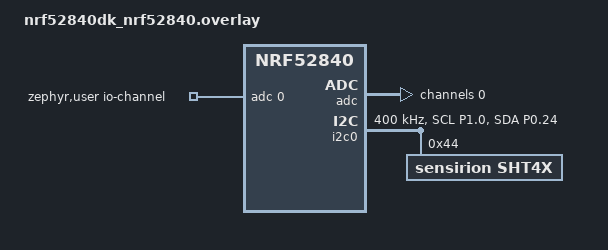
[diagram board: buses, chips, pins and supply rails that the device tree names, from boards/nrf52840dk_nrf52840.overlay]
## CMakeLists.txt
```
#
# Copyright (c) 2025 Nordic Semiconductor ASA
#
# SPDX-License-Identifier: LicenseRef-Nordic-5-Clause
#

cmake_minimum_required(VERSION 3.20.0)

find_package(Zephyr HINTS $ENV{ZEPHYR_BASE})

project(temperature_sensor_1)

# Enable GNU STD support.
include(${ZEPHYR_CONNECTEDHOMEIP_MODULE_DIR}/config/nrfconnect/app/enable-gnu-std.cmake)

# NORDIC SDK APP START

# Include all source files that are located in the Matter common directory.
include(${ZEPHYR_NRF_MODULE_DIR}/samples/matter/common/cmake/source_common.cmake)

# Include Data Model utils
include(${ZEPHYR_NRF_MODULE_DIR}/samples/matter/common/cmake/data_model.cmake)

include(${ZEPHYR_NRF_MODULE_DIR}/samples/matter/common/cmake/zap_helpers.cmake)
ncs_get_zap_parent_dir(ZAP_PARENT_DIR)

target_include_directories(app PRIVATE
  src
  ${ZAP_PARENT_DIR}
)

target_sources(app PRIVATE
  src/app_task.cpp
  src/main.cpp
  src/sht41_sensor.c
  src/battery_adc.cpp
)

ncs_configure_data_model()
# NORDIC SDK APP END
```

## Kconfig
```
#
# Copyright (c) 2025 Nordic Semiconductor
#
# SPDX-License-Identifier: LicenseRef-Nordic-5-Clause
#
mainmenu "Matter nRF Connect Temperature Sensor Example Application"

choice OPENTHREAD_NORDIC_LIBRARY_CONFIGURATION
	default OPENTHREAD_NORDIC_LIBRARY_MTD
endchoice

choice OPENTHREAD_DEVICE_TYPE
	default OPENTHREAD_MTD
endchoice

config CHIP_ENABLE_ICD_SUPPORT
	default y

config CHIP_ICD_LIT_SUPPORT
	default y

config CHIP_ICD_SIT_SLOW_POLL_LIMIT
	default 15000

config CHIP_ICD_REPORT_ON_ACTIVE_MODE
	default y

# Reduce Thread TX output power to 0 dBm for SED device
# 8 dBm : 16.89mA Peak Current
# 4 dBm : 13.17mA Peak Current
config OPENTHREAD_DEFAULT_TX_POWER
	default 4

source "$(ZEPHYR_CONNECTEDHOMEIP_MODULE_DIR)/config/nrfconnect/chip-module/Kconfig.features"
source "$(ZEPHYR_CONNECTEDHOMEIP_MODULE_DIR)/config/nrfconnect/chip-module/Kconfig.defaults"
source "$(ZEPHYR_NRF_MODULE_DIR)/samples/matter/common/src/Kconfig"
source "Kconfig.zephyr"
```

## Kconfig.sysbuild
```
#
# Copyright (c) 2025 Nordic Semiconductor ASA
#
# SPDX-License-Identifier: LicenseRef-Nordic-5-Clause
#

#### Radio core selection
config NRF_DEFAULT_IPC_RADIO
	default y

# Enable IEEE802.15.4 serialization to network core
# This config automatically pulls in the `overlay-802154.conf` in the ipc_radio image
config NETCORE_IPC_RADIO_IEEE802154
	default y if SOC_SERIES_NRF53X

# Enable Bluetooth serialization to network core
# This config automatically pulls in the `overlay-bt_hci_ipc.conf` in the ipc_radio image
config NETCORE_IPC_RADIO_BT_HCI_IPC
	default y if SOC_SERIES_NRF53X

config MATTER_OTA
	default n

#### Enable generating factory data
config MATTER_FACTORY_DATA_GENERATE
	default n

source "share/sysbuild/Kconfig"
```

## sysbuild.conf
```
#
# Copyright (c) 2025 Nordic Semiconductor
#
# SPDX-License-Identifier: LicenseRef-Nordic-5-Clause
#

SB_CONFIG_MATTER=y

# Factory Data 생성 비활성화
SB_CONFIG_MATTER_FACTORY_DATA_GENERATE=n
SB_CONFIG_MATTER_FACTORY_DATA_MERGE_WITH_FIRMWARE=n
```

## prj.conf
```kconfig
#
# Copyright (c) 2025 Nordic Semiconductor ASA
#
# SPDX-License-Identifier: LicenseRef-Nordic-5-Clause
#

# Enable CHIP
CONFIG_CHIP=y
CONFIG_CHIP_PROJECT_CONFIG="src/chip_project_config.h"
CONFIG_CHIP_DEVICE_PRODUCT_NAME="Matter Temperature Sensor"

# Configure ZAP file name
CONFIG_NCS_SAMPLE_MATTER_ZAP_FILE_PATH="${APPLICATION_CONFIG_DIR}/src/default_zap/temperature_sensor.zap"

# Based on https://github.com/project-chip/connectedhomeip/blob/482e6fd03196a6de45465a90003947ef4b86e0b1/docs/examples/discussion/PID_allocation_for_example_apps.md)
CONFIG_CHIP_DEVICE_PRODUCT_ID=32781
CONFIG_STD_CPP17=y

# Enable Matter pairing automatically on application start.
CONFIG_CHIP_ENABLE_PAIRING_AUTOSTART=y

# Enable Matter extended announcement and increase duration to 1 hour.
CONFIG_CHIP_BLE_EXT_ADVERTISING=y
CONFIG_CHIP_BLE_ADVERTISING_DURATION=60

# Add support for LEDs and buttons on Nordic development kits
CONFIG_DK_LIBRARY=y

# Bluetooth Low Energy configuration
CONFIG_BT_DEVICE_NAME="MatterTemperature"
CONFIG_BT_DEVICE_NAME_MAX=18

# Suspend devices when the CPU goes into sleep
CONFIG_PM_DEVICE=y

# Other settings
CONFIG_THREAD_NAME=y
CONFIG_MPU_STACK_GUARD=y
CONFIG_RESET_ON_FATAL_ERROR=n
CONFIG_CHIP_LIB_SHELL=y

# Reduce application size
CONFIG_USE_SEGGER_RTT=n

# Enable Factory Data feature
CONFIG_CHIP_FACTORY_DATA=y
CONFIG_CHIP_FACTORY_DATA_BUILD=n


# I2C 및 센서 서브시스템 활성화
CONFIG_I2C=y
CONFIG_SENSOR=y
CONFIG_CBPRINTF_FP_SUPPORT=y

# ADC 설정 (배터리 전압 측정용)
CONFIG_ADC=y

# BOOTLOADER 사용 안함. 외장 플래시 미사용.
CONFIG_CHIP_BOOTLOADER_NONE=y

# for Matter Test Event Triggers
CONFIG_NCS_SAMPLE_MATTER_TEST_EVENT_TRIGGERS_REGISTER_DEFAULTS=n
CONFIG_NCS_SAMPLE_MATTER_TEST_EVENT_TRIGGERS=n
```

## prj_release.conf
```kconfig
#
# Copyright (c) 2025 Nordic Semiconductor ASA
#
# SPDX-License-Identifier: LicenseRef-Nordic-5-Clause
#

# Enable CHIP
CONFIG_CHIP=y
CONFIG_CHIP_PROJECT_CONFIG="src/chip_project_config.h"
CONFIG_CHIP_DEVICE_PRODUCT_NAME="Matter Temperature Sensor"

# Configure ZAP file name
CONFIG_NCS_SAMPLE_MATTER_ZAP_FILE_PATH="${APPLICATION_CONFIG_DIR}/src/default_zap/temperature_sensor.zap"

# Based on https://github.com/project-chip/connectedhomeip/blob/482e6fd03196a6de45465a90003947ef4b86e0b1/docs/examples/discussion/PID_allocation_for_example_apps.md)
CONFIG_CHIP_DEVICE_PRODUCT_ID=32781
CONFIG_STD_CPP17=y

# Enable Matter pairing automatically on application start.
CONFIG_CHIP_ENABLE_PAIRING_AUTOSTART=y

# Enable Matter extended announcement and increase duration to 1 hour.
CONFIG_CHIP_BLE_EXT_ADVERTISING=y
CONFIG_CHIP_BLE_ADVERTISING_DURATION=60

# Add support for LEDs and buttons on Nordic development kits
CONFIG_DK_LIBRARY=y

# Try to disable unused RAM blocks to reduce power consumption
CONFIG_RAM_POWER_DOWN_LIBRARY=n

# Bluetooth Low Energy configuration
CONFIG_BT_DEVICE_NAME="MatterTemperature"
CONFIG_BT_DEVICE_NAME_MAX=18

# Suspend devices when the CPU goes into sleep
CONFIG_PM_DEVICE=y

# Enable system reset on fatal error
CONFIG_RESET_ON_FATAL_ERROR=y

# Disable all debug features
CONFIG_USE_SEGGER_RTT=n
CONFIG_SHELL=n
CONFIG_OPENTHREAD_SHELL=n
CONFIG_CONSOLE=n
CONFIG_UART_CONSOLE=n
CONFIG_SERIAL=n
CONFIG_LOG=n
CONFIG_LOG_MODE_MINIMAL=n
CONFIG_ASSERT_VERBOSE=n
CONFIG_ASSERT_NO_FILE_INFO=y
CONFIG_PRINTK=n
CONFIG_PRINTK_SYNC=n
CONFIG_THREAD_NAME=n
CONFIG_BOOT_BANNER=n

# Enable Factory Data feature
CONFIG_CHIP_FACTORY_DATA=y
CONFIG_CHIP_FACTORY_DATA_BUILD=n

# Enable Watchdog
CONFIG_NCS_SAMPLE_MATTER_WATCHDOG=y

# Enable LTO to decrease the flash usage. (외장 플래시 미사용 설정 되어 있으면 제대로 동작 안함)
#CONFIG_LTO=y
#CONFIG_ISR_TABLES_LOCAL_DECLARATION=y

# I2C 및 센서 서브시스템 활성화
CONFIG_I2C=y
CONFIG_SENSOR=y
CONFIG_CBPRINTF_FP_SUPPORT=y

# ADC 설정 (배터리 전압 측정용)
CONFIG_ADC=y

# BOOTLOADER 사용 안함. 외장 플래시 미사용.
CONFIG_CHIP_BOOTLOADER_NONE=y

# for Matter Test Event Triggers
CONFIG_NCS_SAMPLE_MATTER_TEST_EVENT_TRIGGERS_REGISTER_DEFAULTS=n
CONFIG_NCS_SAMPLE_MATTER_TEST_EVENT_TRIGGERS=n
```

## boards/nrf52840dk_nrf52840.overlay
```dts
/*
 * Copyright (c) 2025 Nordic Semiconductor ASA
 *
 * SPDX-License-Identifier: LicenseRef-Nordic-5-Clause
 */

/ {
	chosen {
		nordic,pm-ext-flash = &mx25r64;
	};

	zephyr,user {
		io-channels = <&adc 0>;
	}; 
};

/* Button 3 (P0.24) 비활성화 - I2C SCL로 사용하기 위함 */
&button3 {
  status = "disabled";
};

/* Disable unused peripherals to reduce power consumption */
&adc {
	#address-cells = <1>;
	#size-cells = <0>;
	status = "okay";
	channel@0 {
		reg = <0>;
		zephyr,gain = "ADC_GAIN_1_6";
		zephyr,reference = "ADC_REF_INTERNAL";
		zephyr,acquisition-time = <ADC_ACQ_TIME(ADC_ACQ_TIME_MICROSECONDS, 40)>;
		zephyr,input-positive = <NRF_SAADC_VDD>; /* P0.02 for nRF52xx, P0.04 for nRF5340 */
		zephyr,resolution = <12>;
	};
};

&uart1 {
	status = "disabled";
};

/* I2C0 Pinctrl 재설정 - P0.24(SCL), P1.00(SDA) */
&pinctrl {
  i2c0_default: i2c0_default {
    group1 {
      psels = <NRF_PSEL(TWIM_SCL, 1, 0)>,
              <NRF_PSEL(TWIM_SDA, 0, 24)>;
    };
  };

  i2c0_sleep: i2c0_sleep {
    group1 {
      psels = <NRF_PSEL(TWIM_SCL, 1, 0)>,
              <NRF_PSEL(TWIM_SDA, 0, 24)>;
      low-power-enable;
    };
  };
};

&i2c0 {
  /* SDA P0.26, SCL P0.27,  */
  status = "okay";
  compatible = "nordic,nrf-twim";
  clock-frequency = <I2C_BITRATE_FAST>; /* 400kHz */

  pinctrl-0 = <&i2c0_default>;
  pinctrl-1 = <&i2c0_sleep>;
  pinctrl-names = "default", "sleep";	

	sht4x@44 {
		status = "okay";
		compatible = "sensirion,sht4x";
		reg = <0x44>;
		repeatability = <2>;
	};
};
&pwm0 {
	status = "disabled";
};
&spi1 {
	status = "disabled";
};
&spi3 {
	status = "disabled";
};
&usbd {
	status = "disabled";
};
```

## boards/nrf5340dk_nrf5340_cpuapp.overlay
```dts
/*
 * Copyright (c) 2025 Nordic Semiconductor ASA
 *
 * SPDX-License-Identifier: LicenseRef-Nordic-5-Clause
 */

#include <zephyr/dt-bindings/ipc_service/static_vrings.h>

/ {
	chosen {
		nordic,pm-ext-flash = &mx25r64;
	};
};

/* Set IPC thread priority to the highest value to not collide with other threads. */
&ipc0 {
	zephyr,priority = <0 PRIO_COOP>;
};

/* Disable unused peripherals to reduce power consumption */
&adc {
	status = "disabled";
};

/* Enable I2C1 for SHT31 sensor */
&i2c1 {
	status = "okay";
	compatible = "nordic,nrf-twim";
	clock-frequency = <I2C_BITRATE_STANDARD>;

	sht3xd@44 {
		compatible = "sensirion,sht3xd";
		reg = <0x44>;
	};
};

&pwm0 {
	status = "disabled";
};
&spi2 {
	status = "disabled";
};
&usbd {
	status = "disabled";
};
```

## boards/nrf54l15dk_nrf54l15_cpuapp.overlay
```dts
/*
 * Copyright (c) 2025 Nordic Semiconductor ASA
 *
 * SPDX-License-Identifier: LicenseRef-Nordic-5-Clause
 */


/ {
	chosen {
		nordic,pm-ext-flash = &mx25r64;
	};

	aliases {
		/* Use watchdog wdt31 as the application watchdog */
		watchdog0 = &wdt31;
	};
};

/* restore full RRAM and SRAM space - by default some parts are dedicated to FLRP */
&cpuapp_rram {
	reg = <0x0 DT_SIZE_K(1524)>;
};

&cpuapp_sram {
	reg = <0x20000000 DT_SIZE_K(256)>;
	ranges = <0x0 0x20000000  0x40000>;
};

/* TODO: re-enable HWFC once it's fixed */
&uart20 {
	/delete-property/ hw-flow-control;
};

&mx25r64 {
	status = "okay";
};

&wdt31 {
	status = "okay";
};

/* Enable I2C for SHT31 sensor */
&i2c21 {
	status = "okay";
	compatible = "nordic,nrf-twim";
	clock-frequency = <I2C_BITRATE_STANDARD>;
	pinctrl-0 = <&i2c21_default>;
	pinctrl-1 = <&i2c21_sleep>;
	pinctrl-names = "default", "sleep";

	sht3xd@44 {
		compatible = "sensirion,sht3xd";
		reg = <0x44>;
	};
};
```

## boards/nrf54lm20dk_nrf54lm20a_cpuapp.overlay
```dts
/*
 * Copyright (c) 2025 Nordic Semiconductor ASA
 *
 * SPDX-License-Identifier: LicenseRef-Nordic-5-Clause
 */

/ {
	chosen {
		nordic,pm-ext-flash = &mx25r64;
	};

	aliases {
		/* Use watchdog wdt31 as the application watchdog */
		watchdog0 = &wdt31;
	};
};

&mx25r64 {
	status = "okay";
};

&wdt31 {
	status = "okay";
};

/* Enable I2C for SHT31 sensor */
&i2c130 {
	status = "okay";
	compatible = "nordic,nrf-twim";
	clock-frequency = <I2C_BITRATE_STANDARD>;

	sht3xd@44 {
		compatible = "sensirion,sht3xd";
		reg = <0x44>;
	};
};
```

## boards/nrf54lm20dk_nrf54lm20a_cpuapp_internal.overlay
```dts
/*
 * Copyright (c) 2025 Nordic Semiconductor ASA
 *
 * SPDX-License-Identifier: LicenseRef-Nordic-5-Clause
 */

/ {
	aliases {
		/* Use watchdog wdt31 as the application watchdog */
		watchdog0 = &wdt31;
	};
};

&mx25r64 {
	status = "disabled";
};

&wdt31 {
	status = "okay";
};

/* Enable I2C for SHT31 sensor */
&i2c130 {
	status = "okay";
	compatible = "nordic,nrf-twim";
	clock-frequency = <I2C_BITRATE_STANDARD>;

	sht3xd@44 {
		compatible = "sensirion,sht3xd";
		reg = <0x44>;
	};
};
```

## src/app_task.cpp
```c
/*
 * Copyright (c) 2025 Nordic Semiconductor ASA
 *
 * SPDX-License-Identifier: LicenseRef-Nordic-5-Clause
 */

#include "app_task.h"

#include "app/matter_init.h"
#include "app/task_executor.h"
#include "board/board.h"
#include "clusters/identify.h"
#include "lib/core/CHIPError.h"

#include <app-common/zap-generated/attributes/Accessors.h>

#include <zephyr/logging/log.h>

extern "C" {
#include "sht41_sensor.h"
#include "battery_adc.h"
}

LOG_MODULE_DECLARE(app, CONFIG_CHIP_APP_LOG_LEVEL);

using namespace ::chip;
using namespace ::chip::app;
using namespace ::chip::DeviceLayer;

namespace
{
constexpr chip::EndpointId kPowerSourceEndpointId = 0;  
constexpr chip::EndpointId kTemperatureSensorEndpointId = 1;
constexpr chip::EndpointId kHumiditySensorEndpointId = 2;

Nrf::Matter::IdentifyCluster sIdentifyCluster(kTemperatureSensorEndpointId);
Nrf::Matter::IdentifyCluster sIdentifyClusterHumidity(kHumiditySensorEndpointId);

#ifdef CONFIG_CHIP_ICD_UAT_SUPPORT
#define UAT_BUTTON_MASK DK_BTN3_MSK
#endif
} /* namespace */

void AppTask::ButtonEventHandler(Nrf::ButtonState state, Nrf::ButtonMask hasChanged)
{
#ifdef CONFIG_CHIP_ICD_UAT_SUPPORT
	if ((UAT_BUTTON_MASK & state & hasChanged)) {
		LOG_INF("ICD UserActiveMode has been triggered.");
		Server::GetInstance().GetICDManager().OnNetworkActivity();
	}
#endif
}

bool AppTask::ReadSensorData(double &temperature, double &humidity)
{
  bool sensor_read_success = false;

  /* 실물 센서 읽기 시도 */
  if (mUseRealSensor && mSensorAvailable) {
    if (sht41_is_ready()) {
      int ret = sht41_read_all(&temperature, &humidity);
      if (ret == 0) {
        sensor_read_success = true;
        LOG_INF("SHT41 sensor read - Temp: %.2f C, Humidity: %.2f %%RH", temperature, humidity);
      } else {
        LOG_WRN("Failed to read SHT41 sensor: %d, using simulated data", ret);
      }
    } else {
      LOG_WRN("SHT41 sensor not ready, using simulated data");
    }
  }

  /* 센서 읽기 실패 시 가상 데이터 생성 */
  if (!mUseRealSensor) {
    /* 가상 온도 데이터 생성 */
    UpdateTemperatureMeasurement();
    
    /* 가상 습도 데이터 생성 */
    UpdateHumidityMeasurement();
    
    /* int16_t를 double로 변환 (100으로 나눔) */
    temperature = (double)GetCurrentTemperature() / 100.0;
    humidity = (double)GetCurrentHumidity() / 100.0;
    
    LOG_INF("Simulated data - Temp: %.2f C, Humidity: %.2f %%RH", temperature, humidity);
  }

  return sensor_read_success;
}

void AppTask::UpdateTemperatureAttribute(bool force_update, int16_t new_temperature)
{
  /* 온도 변화 감지: 소수점 첫째 자리까지 비교 */
  /* 예: 23.15 -> 231, 23.18 -> 231 (같음), 23.25 -> 232 (다름) */
  int16_t temp_rounded_current = (new_temperature + 5) / 10;  /* 반올림하여 소수점 첫째 자리까지 */
  int16_t temp_rounded_previous = (mPreviousTemperature + 5) / 10;

  if (!force_update && temp_rounded_current == temp_rounded_previous) {
    LOG_DBG("Temperature unchanged (%.1f C), skipping update", (double)new_temperature / 100.0);
    return;
  }

  /* 온도 변화 있음 - Matter 속성 업데이트 */
  DeviceLayer::PlatformMgr().ScheduleWork(
    [](intptr_t context) {
      int16_t temp_value = (int16_t)context;
      Protocols::InteractionModel::Status status =
        Clusters::TemperatureMeasurement::Attributes::MeasuredValue::Set(
          kTemperatureSensorEndpointId, temp_value);

      if (status != Protocols::InteractionModel::Status::Success) {
        LOG_ERR("Updating temperature measurement failed %x", to_underlying(status));
      } else {
        LOG_INF("Temperature updated: %d (%.2f C)", temp_value, (double)temp_value / 100.0);
      }
    },
    (intptr_t)new_temperature
  );

  mPreviousTemperature = new_temperature;
}


void AppTask::UpdateHumidityAttribute(bool force_update, uint16_t new_humidity)
{
  /* 습도 변화 감지: 정수 부분만 비교 */
  /* 예: 65.8% -> 65, 65.2% -> 65 (같음), 66.1% -> 66 (다름) */
  uint16_t humidity_int_current = new_humidity / 100;  /* 정수 부분만 */
  uint16_t humidity_int_previous = mPreviousHumidity / 100;

  if (!force_update && humidity_int_current == humidity_int_previous) {
    LOG_DBG("Humidity unchanged (%d %%RH), skipping update", humidity_int_current);
    return;
  }

  /* 습도 변화 있음 - Matter 속성 업데이트 */
  DeviceLayer::PlatformMgr().ScheduleWork(
    [](intptr_t context) {
      uint16_t humidity_value = (uint16_t)context;
      Protocols::InteractionModel::Status status =
        Clusters::RelativeHumidityMeasurement::Attributes::MeasuredValue::Set(
          kHumiditySensorEndpointId, humidity_value);

      if (status != Protocols::InteractionModel::Status::Success) {
        LOG_ERR("Updating humidity measurement failed %x", to_underlying(status));
      } else {
        LOG_INF("Humidity updated: %d (%.2f %%RH)", humidity_value, (double)humidity_value / 100.0);
      }
    },
    (intptr_t)new_humidity
  );

  mPreviousHumidity = new_humidity;
}


void AppTask::UpdateBatteryAttributes()
{
  /* Matter 속성 업데이트 */
  DeviceLayer::PlatformMgr().ScheduleWork(
    [](intptr_t context) {
      AppTask *inst = reinterpret_cast<AppTask*>(context);
      
      /* BatVoltage 업데이트 */
      Protocols::InteractionModel::Status status =
        Clusters::PowerSource::Attributes::BatVoltage::Set(
          kPowerSourceEndpointId, inst->GetCurrentBatteryVoltage());

      if (status != Protocols::InteractionModel::Status::Success) {
        LOG_ERR("Updating battery voltage failed %x", to_underlying(status));
      }

      /* BatPercentRemaining 업데이트 */
      status = Clusters::PowerSource::Attributes::BatPercentRemaining::Set(
        kPowerSourceEndpointId, inst->GetCurrentBatteryPercentage());

      if (status != Protocols::InteractionModel::Status::Success) {
        LOG_ERR("Updating battery percentage failed %x", to_underlying(status));
      }
    },
    (intptr_t)this
  );
}


void AppTask::InitializeSHT41Sensor()
{
	constexpr int MAX_RETRIES = 3;
	constexpr int RETRY_DELAY_MS = 50;

	/* SHT41 센서 초기화 시도 (최대 3번 retry) */
	for (int attempt = 1; attempt <= MAX_RETRIES; attempt++) {
		LOG_INF("SHT41 sensor initialization attempt %d/%d", attempt, MAX_RETRIES);
		
		if ( sht41_sensor_init() == 0) {
			double temp, hum;
			int ret = sht41_read_all(&temp, &hum);
			if (ret == 0) {
				LOG_INF("SHT41 sensor initialized successfully - Temp: %.2f C, Humidity: %.2f %%RH", temp, hum);
				mSensorAvailable = true;

				/* 초기 온습도 값 설정 */
				mCurrentTemperature = (int16_t)(temp * 100.0);
				mCurrentHumidity = (uint16_t)(hum * 100.0);
				mPreviousTemperature = mCurrentTemperature;
				mPreviousHumidity = mCurrentHumidity;
				return;
			} else {
				LOG_WRN("SHT41 sensor read failed: %d (attempt %d/%d)", ret, attempt, MAX_RETRIES);
			}
		} else {
			LOG_WRN("SHT41 sensor not found (attempt %d/%d)", attempt, MAX_RETRIES);
		}

		/* 마지막 시도가 아니면 대기 */
		if (attempt < MAX_RETRIES) {
			k_msleep(RETRY_DELAY_MS);
		}
	}

	/* 모든 시도 실패 - 가상 데이터 사용 */
	LOG_WRN("SHT41 sensor initialization failed after %d attempts, will use simulated data", MAX_RETRIES);
	mSensorAvailable = false;

}


void AppTask::InitializeBatteryAdc()
{
	LOG_INF("Initializing battery ADC...");

	/* Battery ADC 초기화 */
	int ret = BatteryAdc::Instance().Init();
	if (ret == 0) {
		LOG_INF("Battery ADC initialized successfully");
		mBatteryAdcAvailable = true;
		mUseRealBatteryAdc = true;

		/* 초기 배터리 전압 읽기 */
		int32_t voltage_mv = BatteryAdc::Instance().ReadVoltage();
		if (voltage_mv > 0) {
			mCurrentBatteryVoltage = (uint32_t)voltage_mv;
			mCurrentBatteryPercentage = BatteryAdc::Instance().GetLastPercentage();
			LOG_INF("Initial battery voltage: %d mV, percentage: %d (0.5%% units)",
			        mCurrentBatteryVoltage, mCurrentBatteryPercentage);
		} else {
			LOG_WRN("Failed to read initial battery voltage: %d", voltage_mv);
		}
	} else {
		LOG_WRN("Battery ADC initialization failed: %d, will use simulated data", ret);
		mBatteryAdcAvailable = false;
		mUseRealBatteryAdc = false;
	}
}


void AppTask::SensorReadWorkHandler(k_work *work)
{
	if (!work) {
		return;
	}

	/* work에서 AppTask 인스턴스 가져오기 */
	k_work_delayable *delayable_work = k_work_delayable_from_work(work);
	AppTask *instance = CONTAINER_OF(delayable_work, AppTask, mSensorReadWork);

	double temperature = 0.0;
	double humidity = 0.0;

	/* 센서 데이터 읽기 (실물 또는 가상) */
	bool sensor_read_success = instance->ReadSensorData(temperature, humidity);

	if (instance->mUseRealSensor && !sensor_read_success) {
		LOG_WRN("Sensor read failed, will use previous values");
		/* 이전 값 사용 */
		temperature = (double)instance->GetCurrentTemperature() / 100.0;
		humidity = (double)instance->GetCurrentHumidity() / 100.0;
	}

	/* Matter 속성 값으로 변환 (100배) */
	int16_t new_temperature_value = (int16_t)(temperature * 100.0);
	uint16_t new_humidity_value = (uint16_t)(humidity * 100.0);

	bool force_update = (instance->mForceUpdateCount < AppTask::kForceUpdateMaxCount);
	if (force_update) {
		instance->mForceUpdateCount++;
	}

	/* 온도 업데이트 (변화 감지) */
	instance->UpdateTemperatureAttribute(force_update, new_temperature_value);

	/* 습도 업데이트 (변화 감지) */
	instance->UpdateHumidityAttribute(force_update, new_humidity_value);

	/* 다음 1분 후 재스케줄 */
	k_work_schedule(&instance->mSensorReadWork, K_MSEC(kSensorReadIntervalMs));
}


void AppTask::BatteryReadWorkHandler(k_work *work)
{
	if (!work) {
		return;
	}

	/* work에서 AppTask 인스턴스 가져오기 */
	k_work_delayable *delayable_work = k_work_delayable_from_work(work);
	AppTask *instance = CONTAINER_OF(delayable_work, AppTask, mBatteryReadWork);

	/* 실제 배터리 ADC 데이터 사용 시도 */
	if (instance->mUseRealBatteryAdc && instance->mBatteryAdcAvailable) {
		int32_t voltage_mv = BatteryAdc::Instance().ReadVoltage();
		if (voltage_mv > 0) {
			instance->mCurrentBatteryVoltage = (uint32_t)voltage_mv;
			instance->mCurrentBatteryPercentage = BatteryAdc::Instance().GetLastPercentage();
			LOG_INF("Battery ADC read: voltage=%d mV, percentage=%d (0.5%% units)",
			        instance->mCurrentBatteryVoltage,
			        instance->mCurrentBatteryPercentage);
		} else {
			LOG_WRN("Battery ADC read failed: %d, using simulated data", voltage_mv);
		}
	} else {
		/* 가상 데이터 사용 */
		instance->UpdateBatteryVoltage();
		instance->UpdateBatteryPercentage();
		LOG_DBG("Battery simulated: voltage=%d mV, percentage=%d (0.5%% units)",
		        instance->mCurrentBatteryVoltage,
		        instance->mCurrentBatteryPercentage);
	}

	/* 배터리 속성 Matter 업데이트 */
	instance->UpdateBatteryAttributes();

	/* 다음 읽기 스케줄링 */
	if( instance->mForceUpdateCount < AppTask::kForceUpdateMaxCount) {
		/* 부팅후 1분 간격으로 읽기 */
		k_work_schedule(&instance->mBatteryReadWork, K_MSEC(kBatteryReadIntervalShortMs));
	} else {
	  k_work_schedule(&instance->mBatteryReadWork, K_MSEC(kBatteryReadIntervalMs));
	}
}


CHIP_ERROR AppTask::Init()
{
	/* Initialize Matter stack */
	ReturnErrorOnFailure(Nrf::Matter::PrepareServer());

#ifdef CONFIG_DK_LIBRARY	
	if (!Nrf::GetBoard().Init(ButtonEventHandler)) {
		LOG_ERR("User interface initialization failed.");
		return CHIP_ERROR_INCORRECT_STATE;
	}
#endif	

	/* Register Matter event handler that controls the connectivity status LED based on the captured Matter network
	 * state. */
	ReturnErrorOnFailure(Nrf::Matter::RegisterEventHandler(Nrf::Board::DefaultMatterEventHandler, 0));

	ReturnErrorOnFailure(sIdentifyCluster.Init());
	ReturnErrorOnFailure(sIdentifyClusterHumidity.Init());

	/* SHT41 센서 초기화 */
	InitializeSHT41Sensor();

	/* 배터리 ADC 초기화 */
	InitializeBatteryAdc();

	return Nrf::Matter::StartServer();
}

#include <zephyr/kernel.h>
#include <nrfx.h>
#include <hal/nrf_nvmc.h>

void configure_regout0_3v0(void)
{
  if ((NRF_UICR->REGOUT0 & UICR_REGOUT0_VOUT_Msk) == 
      (UICR_REGOUT0_VOUT_DEFAULT << UICR_REGOUT0_VOUT_Pos)) {
    
    nrf_nvmc_mode_set(NRF_NVMC, NRF_NVMC_MODE_WRITE);
    
    // 3.0V = VOUT 필드를 2 (010)로 설정
    NRF_UICR->REGOUT0 = (NRF_UICR->REGOUT0 & ~UICR_REGOUT0_VOUT_Msk) |
                        (4UL << UICR_REGOUT0_VOUT_Pos);  // 2 = 3.0V
    
    while (!nrf_nvmc_ready_check(NRF_NVMC));
    
    nrf_nvmc_mode_set(NRF_NVMC, NRF_NVMC_MODE_READONLY);
    
    NVIC_SystemReset();
  }
}

CHIP_ERROR AppTask::StartApp()
{
	/* Regout0을 3.0V로 설정 */
	//configure_regout0_3v0();

	ReturnErrorOnFailure(Init());

	/************************************************************************************************************ */
	DataModel::Nullable<int16_t> val;
	Protocols::InteractionModel::Status status =
		Clusters::TemperatureMeasurement::Attributes::MinMeasuredValue::Get(kTemperatureSensorEndpointId, val);

	if (status != Protocols::InteractionModel::Status::Success || val.IsNull()) {
		LOG_ERR("Failed to get temperature measurement min value %x", to_underlying(status));
		return CHIP_ERROR_INCORRECT_STATE;
	}

	mTemperatureSensorMinValue = val.Value();

	status = Clusters::TemperatureMeasurement::Attributes::MaxMeasuredValue::Get(kTemperatureSensorEndpointId, val);

	if (status != Protocols::InteractionModel::Status::Success || val.IsNull()) {
		LOG_ERR("Failed to get temperature measurement max value %x", to_underlying(status));
		return CHIP_ERROR_INCORRECT_STATE;
	}

	mTemperatureSensorMaxValue = val.Value();
	/************************************************************************************************************ */
	// 습도 센서 초기화 추가
  DataModel::Nullable<uint16_t> humidityVal;
  status = Clusters::RelativeHumidityMeasurement::Attributes::MinMeasuredValue::Get(kHumiditySensorEndpointId, humidityVal);

  if (status != Protocols::InteractionModel::Status::Success || humidityVal.IsNull()) {
    LOG_ERR("Failed to get humidity measurement min value %x", to_underlying(status));
    return CHIP_ERROR_INCORRECT_STATE;
  }

  mHumiditySensorMinValue = humidityVal.Value();

  status = Clusters::RelativeHumidityMeasurement::Attributes::MaxMeasuredValue::Get(kHumiditySensorEndpointId, humidityVal);

  if (status != Protocols::InteractionModel::Status::Success || humidityVal.IsNull()) {
    LOG_ERR("Failed to get humidity measurement max value %x", to_underlying(status));
    return CHIP_ERROR_INCORRECT_STATE;
  }

  mHumiditySensorMaxValue = humidityVal.Value();
  /************************************************************************************************************ */


	/* 센서 읽기 work 초기화 및 시작 */
	k_work_init_delayable(&mSensorReadWork, SensorReadWorkHandler);
	/* 초기 센서 읽기는 5초 후 시작 (Matter 초기화 대기) */
	k_work_schedule(&mSensorReadWork, K_MSEC(5000));
	LOG_INF("Sensor reading task started (60 second interval)");

	/* 배터리 읽기 work 초기화 및 시작 */
	k_work_init_delayable(&mBatteryReadWork, BatteryReadWorkHandler);
	/* 초기 배터리 읽기는 10초 후 시작 (Matter 초기화 대기) */
	k_work_schedule(&mBatteryReadWork, K_MSEC(10000));
	LOG_INF("Battery reading task started (600 second interval)");

	while (true) {
		Nrf::DispatchNextTask();
	}

	return CHIP_NO_ERROR;
}
```

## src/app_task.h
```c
/*
 * Copyright (c) 2025 Nordic Semiconductor ASA
 *
 * SPDX-License-Identifier: LicenseRef-Nordic-5-Clause
 */

#pragma once

#include "board/board.h"

#include <platform/CHIPDeviceLayer.h>

struct Identify;

class AppTask {
public:
	static AppTask &Instance()
	{
		static AppTask sAppTask;
		return sAppTask;
	};

	CHIP_ERROR StartApp();


	/* Defined by cluster temperature measured value = 100 x temperature in degC with resolution of
	 * 0.01 degC. */
	void UpdateTemperatureMeasurement()
	{
		/* Linear temperature increase that is wrapped around to min value after reaching the max value. */
		if (mCurrentTemperature < mTemperatureSensorMaxValue) {
			mCurrentTemperature += kTemperatureMeasurementStep;
		} else {
			mCurrentTemperature = mTemperatureSensorMinValue;
		}
	}

	int16_t GetCurrentTemperature() const { return mCurrentTemperature; }
  /************************************************************************************************ */


  /* Defined by cluster humidity measured value = 100 x humidity in % with resolution of 0.01 %. */
  void UpdateHumidityMeasurement()
  {
    /* Linear humidity increase that is wrapped around to min value after reaching the max value. */
    if (mCurrentHumidity < mHumiditySensorMaxValue) {
      mCurrentHumidity += kHumidityMeasurementStep;
    } else {
      mCurrentHumidity = mHumiditySensorMinValue;
    }
  }

  uint16_t GetCurrentHumidity() const { return mCurrentHumidity; }
  /************************************************************************************************ */


  /* Battery voltage in mV (3000-4200mV for Li-ion) */
  void UpdateBatteryVoltage()
  {
    /* 배터리 전압 시뮬레이션: 4200mV에서 3000mV까지 감소 */
    if (mCurrentBatteryVoltage > mBatteryVoltageMin) {
      mCurrentBatteryVoltage -= kBatteryVoltageStep;
    } else {
      mCurrentBatteryVoltage = mBatteryVoltageMax;
    }
  }

  uint32_t GetCurrentBatteryVoltage() const { return mCurrentBatteryVoltage; }
  /************************************************************************************************ */


  /* Battery percentage 0-200 (0.5% units, 200 = 100%) */
  void UpdateBatteryPercentage()
  {
    /* 배터리 잔량 시뮬레이션: 전압 기반으로 계산 */
    /* 3000mV = 0%, 4200mV = 100% (200 in 0.5% units) */
    uint32_t range = mBatteryVoltageMax - mBatteryVoltageMin;
    uint32_t current = mCurrentBatteryVoltage - mBatteryVoltageMin;
    mCurrentBatteryPercentage = (current * 200) / range;
  }

  uint8_t GetCurrentBatteryPercentage() const { return mCurrentBatteryPercentage; }
  /************************************************************************************************ */


private:
	CHIP_ERROR Init();

	/* 1분 주기 센서 읽기 work */
	k_work_delayable mSensorReadWork;
	static constexpr uint32_t kSensorReadIntervalMs = 1000*60; /* 1 minutes */

	/* 30분 주기 배터리 읽기 work */
	k_work_delayable mBatteryReadWork;
#if 1
	static constexpr uint32_t kBatteryReadIntervalShortMs = 1000*60*1; /* 60 seconds (1 minute) */
	static constexpr uint32_t kBatteryReadIntervalMs = 1000*60*30; /* 1800 seconds (30 minutes) */
#else
// test purpose
	static constexpr uint32_t kBatteryReadIntervalShortMs = 1000*10; /* 15 seconds */
	static constexpr uint32_t kBatteryReadIntervalMs = 1000*10; /* 60 seconds (1 minute) */
#endif

	static constexpr uint16_t kTemperatureMeasurementStep = 100; /* 1 degree Celsius */
	static constexpr uint16_t kHumidityMeasurementStep = 100; /* 1 percent */

	/* 센서 읽기 및 업데이트 work handler */
	static void SensorReadWorkHandler(k_work *work);
	/* 배터리 읽기 및 업데이트 work handler */
	static void BatteryReadWorkHandler(k_work *work);
	/* SHT31 센서 초기화 */
	void InitializeSHT41Sensor();
	/* 배터리 ADC 초기화 */
	void InitializeBatteryAdc();
	/* 센서 데이터 읽기 (실물 또는 가상) */
	bool ReadSensorData(double &temperature, double &humidity);
	/* 온도 업데이트 (변화 감지 후 Matter 속성 업데이트) */
	void UpdateTemperatureAttribute(bool force_update, int16_t new_temperature);
	/* 습도 업데이트 (변화 감지 후 Matter 속성 업데이트) */
	void UpdateHumidityAttribute(bool force_update, uint16_t new_humidity);
	/* 배터리 상태 업데이트 */
	void UpdateBatteryAttributes();

	static void ButtonEventHandler(Nrf::ButtonState state, Nrf::ButtonMask hasChanged);

	int16_t mTemperatureSensorMaxValue = 0;
	int16_t mTemperatureSensorMinValue = 0;
	int16_t mCurrentTemperature = 0;

	// 습도 센서 관련 멤버 변수 추가
	uint16_t mHumiditySensorMaxValue = 0;
	uint16_t mHumiditySensorMinValue = 0;
	uint16_t mCurrentHumidity = 0;

	// 배터리 관련 멤버 변수 추가
  static constexpr uint32_t mBatteryVoltageMax = 4200; /* 4.2V in mV */
  static constexpr uint32_t mBatteryVoltageMin = 3000; /* 3.0V in mV */
  static constexpr uint32_t kBatteryVoltageStep = 50;  /* 50mV 감소 */
  
  uint32_t mCurrentBatteryVoltage = mBatteryVoltageMax;
  uint8_t mCurrentBatteryPercentage = 200; /* 100% = 200 in 0.5% units */	

	/* 이전 센서 값 저장 (변화 감지용) */
	int16_t mPreviousTemperature = 0;
	uint16_t mPreviousHumidity = 0;

  /* 부팅후 강제 전송 count */
  uint16_t mForceUpdateCount = 0;
	static constexpr uint16_t kForceUpdateMaxCount = 10; /* 처음 10회는 강제 전송 */

	/* 센서 사용 가능 여부 */
	bool mSensorAvailable = false;

	/* 실제 센서 데이터 사용 여부 (true: 실제 센서, false: 가상 데이터) */
	bool mUseRealSensor = true;

	/* 배터리 ADC 사용 가능 여부 */
	bool mBatteryAdcAvailable = false;

	/* 실제 배터리 ADC 데이터 사용 여부 (true: 실제 ADC, false: 가상 데이터) */
	bool mUseRealBatteryAdc = true;
};
```

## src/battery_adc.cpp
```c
/*
 * Copyright (c) 2025 Nordic Semiconductor ASA
 *
 * SPDX-License-Identifier: LicenseRef-Nordic-5-Clause
 */

#include "battery_adc.h"

#include <zephyr/logging/log.h>
#include <zephyr/pm/device.h>
#include <zephyr/devicetree.h>

LOG_MODULE_REGISTER(battery_adc, CONFIG_CHIP_APP_LOG_LEVEL);

int BatteryAdc::Init()
{
	/* Initialize ADC channel from device tree */
	mAdcChannel = ADC_DT_SPEC_GET(DT_PATH(zephyr_user));
	if (!mAdcChannel.dev) {
		LOG_ERR("ADC device not found in device tree");
		return -ENODEV;
	}

	/* STEP 4.1 - Define ADC sequence configuration */
	mSequence = {
		.buffer = &mAdcBuffer,
		.buffer_size = sizeof(mAdcBuffer),
	};

	/* STEP 3.3 - Validate that the ADC peripheral (SAADC) is ready */
	if (!adc_is_ready_dt(&mAdcChannel)) {
		LOG_ERR("ADC controller device %s not ready", mAdcChannel.dev->name);
		return -ENODEV;
	}

	/* STEP 3.4 - Setup the ADC channel */
	if (adc_channel_setup_dt(&mAdcChannel) < 0) {
		LOG_ERR("Could not setup ADC channel");
		return -EIO;
	}

	/* STEP 4.2 - Initialize the ADC sequence */
	if (adc_sequence_init_dt(&mAdcChannel, &mSequence) < 0) {
		LOG_ERR("Could not initialize ADC sequence");
		return -EIO;
	}

	mInitialized = true;

	/* Perform initial ADC read to verify functionality */
	int32_t val_mv = ReadVoltage();
	if (val_mv < 0) {
		LOG_ERR("Initial ADC read failed");
		mInitialized = false;
		return -EIO;
	}

	LOG_INF("Battery ADC initialized: %d mV", val_mv);
	return 0;
}


int32_t BatteryAdc::ReadVoltage()
{
	int err;

	if (!mInitialized) {
		LOG_ERR("Battery ADC not initialized");
		return -ENODEV;
	}

  /* ★ 매번 채널 재설정 (PM resume 후 채널 설정이 날아가는 문제 해결) */
  err = adc_channel_setup_dt(&mAdcChannel);
  if (err < 0) {
    LOG_WRN("ADC channel re-setup: %d", err);
		return err;
  }

	/* Perform ADC read */
	err = adc_read(mAdcChannel.dev, &mSequence);
	if (err < 0) {
		LOG_ERR("ADC read failed: %d", err);
		return err;
	}

	/* Convert raw value to millivolts */
	int32_t val_mv = (int32_t)mAdcBuffer;
	err = adc_raw_to_millivolts_dt(&mAdcChannel, &val_mv);
	if (err < 0) {
		LOG_ERR("ADC raw to mV conversion failed: %d", err);
		return err;
	}

	/* Apply voltage divider ratio (1:2 divider) to get actual battery voltage */
	val_mv = val_mv * VOLTAGE_DIVIDER_RATIO;

	/* Store the last measured voltage */
	mLastVoltage = (uint32_t)val_mv;

	/* Calculate and store battery percentage */
	mLastPercentage = CalculatePercentage(mLastVoltage);

	LOG_DBG("Battery voltage: %d mV, percentage: %d (0.5%% unit)",
	        mLastVoltage, mLastPercentage);

	return (int32_t)mLastVoltage;
}


uint8_t BatteryAdc::CalculatePercentage(uint32_t voltage_mv)
{
	/* Calculate battery percentage based on voltage
	   3000mV = 0%, 4200mV = 100% (Matter: 0~200, 0.5% unit) */

	if (voltage_mv <= BATTERY_VOLTAGE_MIN) {
		return 0;
	} else if (voltage_mv >= BATTERY_VOLTAGE_MAX) {
		return 200;
	}

	uint32_t range = BATTERY_VOLTAGE_MAX - BATTERY_VOLTAGE_MIN;
	uint32_t current = voltage_mv - BATTERY_VOLTAGE_MIN;
	uint8_t percentage = (current * 200) / range;

	return percentage;
}
```

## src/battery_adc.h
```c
/*
 * Copyright (c) 2025 Nordic Semiconductor ASA
 *
 * SPDX-License-Identifier: LicenseRef-Nordic-5-Clause
 */

#pragma once

#include <zephyr/kernel.h>
#include <zephyr/drivers/adc.h>
#include <stdint.h>

/**
 * @brief 배터리 ADC 관리 클래스
 * 
 * 1셀 리튬 배터리 전압을 1:2 분압하여 ADC로 측정합니다.
 * 저전력 동작을 위해 측정 시에만 ADC를 활성화합니다.
 */
class BatteryAdc {
public:
  /**
   * @brief BatteryAdc 싱글톤 인스턴스 반환
   */
  static BatteryAdc &Instance()
  {
    static BatteryAdc sBatteryAdc;
    return sBatteryAdc;
  }

  /**
   * @brief ADC 초기화
   * @return 0: 성공, 음수: 실패
   */
  int Init();

  /**
   * @brief 배터리 전압 측정
   * @return 배터리 전압(mV), 실패 시 음수
   */
  int32_t ReadVoltage();

  /**
   * @brief 배터리 전압으로부터 잔량(%) 계산
   * @param voltage_mv 배터리 전압(mV)
   * @return 배터리 잔량 (0~200, 0.5% 단위, 200 = 100%)
   */
  uint8_t CalculatePercentage(uint32_t voltage_mv);

  /**
   * @brief 마지막으로 측정된 전압 반환
   * @return 전압(mV)
   */
  uint32_t GetLastVoltage() const { return mLastVoltage; }

  /**
   * @brief 마지막으로 계산된 잔량 반환
   * @return 잔량 (0~200, 0.5% 단위)
   */
  uint8_t GetLastPercentage() const { return mLastPercentage; }

  #if 0
  // lithium 1셀 배터리 전압 범위
  static constexpr uint32_t BATTERY_VOLTAGE_MAX = 4200; /* 4.2V */
  static constexpr uint32_t BATTERY_VOLTAGE_MIN = 3000; /* 3.0V */
  #else
  // 3.3V Coin Cell Battery
  static constexpr uint32_t BATTERY_VOLTAGE_MAX = 3300; /* 3.3V */
  static constexpr uint32_t BATTERY_VOLTAGE_MIN = 2400; /* 2.4V */
  #endif


private:
  BatteryAdc() = default;
  ~BatteryAdc() = default;

  // 복사 생성자 및 대입 연산자 삭제 (싱글톤)
  BatteryAdc(const BatteryAdc &) = delete;
  BatteryAdc &operator=(const BatteryAdc &) = delete;

  // ADC 설정 상수
  // "1" : 1:1 분압사용
  // "2" : 1:2 분압사용
  static constexpr uint8_t VOLTAGE_DIVIDER_RATIO = 1;
  
  // ADC 디바이스 및 설정
  struct adc_dt_spec mAdcChannel;
  struct adc_sequence mSequence;
  int16_t mAdcBuffer;

  // 마지막 측정 값
  uint32_t mLastVoltage = BATTERY_VOLTAGE_MAX;
  uint8_t mLastPercentage = 200; // 100%
  
  bool mInitialized = false;
};
```

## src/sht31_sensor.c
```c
/*
 * Copyright (c) 2025 Nordic Semiconductor ASA
 *
 * SPDX-License-Identifier: LicenseRef-Nordic-5-Clause
 */

#include "sht31_sensor.h"

#include <zephyr/device.h>
#include <zephyr/drivers/sensor.h>
#include <zephyr/logging/log.h>

LOG_MODULE_REGISTER(sht31_sensor, LOG_LEVEL_INF);

/* SHT3XD 디바이스 노드 */
static const struct device *sht3xd_dev = DEVICE_DT_GET_ANY(sensirion_sht3xd);

int sht31_sensor_init(void)
{
  if (!sht3xd_dev) {
    LOG_ERR("Failed to get SHT3XD device");
    return -ENODEV;
  }

  if (!device_is_ready(sht3xd_dev)) {
    LOG_ERR("SHT3XD device is not ready");
    return -ENODEV;
  }

  LOG_INF("SHT3XD sensor initialized successfully");
  return 0;
}

bool sht31_is_ready(void)
{
  if (!sht3xd_dev) {
    return false;
  }
  return device_is_ready(sht3xd_dev);
}

int sht31_read_temperature(double *temperature)
{
  struct sensor_value temp_value;
  int ret;

  if (!sht31_is_ready()) {
    LOG_ERR("SHT3XD device is not ready");
    return -ENODEV;
  }

  /* 센서 데이터 샘플링 */
  ret = sensor_sample_fetch(sht3xd_dev);
  if (ret) {
    LOG_ERR("Failed to fetch sensor data: %d", ret);
    return ret;
  }

  /* 온도 값 읽기 */
  ret = sensor_channel_get(sht3xd_dev, SENSOR_CHAN_AMBIENT_TEMP, &temp_value);
  if (ret) {
    LOG_ERR("Failed to get temperature: %d", ret);
    return ret;
  }

  /* sensor_value를 double로 변환 */
  *temperature = sensor_value_to_double(&temp_value);

  LOG_DBG("Temperature: %.2f °C", *temperature);
  return 0;
}

int sht31_read_humidity(double *humidity)
{
  struct sensor_value hum_value;
  int ret;

  if (!sht31_is_ready()) {
    LOG_ERR("SHT3XD device is not ready");
    return -ENODEV;
  }

  /* 센서 데이터 샘플링 */
  ret = sensor_sample_fetch(sht3xd_dev);
  if (ret) {
    LOG_ERR("Failed to fetch sensor data: %d", ret);
    return ret;
  }

  /* 습도 값 읽기 */
  ret = sensor_channel_get(sht3xd_dev, SENSOR_CHAN_HUMIDITY, &hum_value);
  if (ret) {
    LOG_ERR("Failed to get humidity: %d", ret);
    return ret;
  }

  /* sensor_value를 double로 변환 */
  *humidity = sensor_value_to_double(&hum_value);

  LOG_DBG("Humidity: %.2f %%RH", *humidity);
  return 0;
}

int sht31_read_all(double *temperature, double *humidity)
{
  struct sensor_value temp_value, hum_value;
  int ret;

  if (!sht31_is_ready()) {
    LOG_ERR("SHT3XD device is not ready");
    return -ENODEV;
  }

  /* 센서 데이터 샘플링 (한 번만 호출) */
  ret = sensor_sample_fetch(sht3xd_dev);
  if (ret) {
    LOG_ERR("Failed to fetch sensor data: %d", ret);
    return ret;
  }

  /* 온도 값 읽기 */
  ret = sensor_channel_get(sht3xd_dev, SENSOR_CHAN_AMBIENT_TEMP, &temp_value);
  if (ret) {
    LOG_ERR("Failed to get temperature: %d", ret);
    return ret;
  }
  *temperature = sensor_value_to_double(&temp_value);

  /* 습도 값 읽기 */
  ret = sensor_channel_get(sht3xd_dev, SENSOR_CHAN_HUMIDITY, &hum_value);
  if (ret) {
    LOG_ERR("Failed to get humidity: %d", ret);
    return ret;
  }
  *humidity = sensor_value_to_double(&hum_value);

  LOG_INF("Temp: %.2f °C, Humidity: %.2f %%RH", *temperature, *humidity);
  return 0;
}
```

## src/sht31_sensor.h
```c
/*
 * Copyright (c) 2025 Nordic Semiconductor ASA
 *
 * SPDX-License-Identifier: LicenseRef-Nordic-5-Clause
 */

#pragma once

#include <zephyr/kernel.h>

#ifdef __cplusplus
extern "C" {
#endif

/**
 * @brief SHT31 센서 초기화
 * 
 * @return 0 성공, 음수 에러 코드
 */
int sht31_sensor_init(void);

/**
 * @brief SHT31 센서에서 온도 읽기
 * 
 * @param temperature 온도 값 저장 포인터 (섭씨, °C)
 * @return 0 성공, 음수 에러 코드
 */
int sht31_read_temperature(double *temperature);

/**
 * @brief SHT31 센서에서 습도 읽기
 * 
 * @param humidity 습도 값 저장 포인터 (상대습도, %RH)
 * @return 0 성공, 음수 에러 코드
 */
int sht31_read_humidity(double *humidity);

/**
 * @brief SHT31 센서에서 온도와 습도를 동시에 읽기
 * 
 * @param temperature 온도 값 저장 포인터 (섭씨, °C)
 * @param humidity 습도 값 저장 포인터 (상대습도, %RH)
 * @return 0 성공, 음수 에러 코드
 */
int sht31_read_all(double *temperature, double *humidity);

/**
 * @brief SHT31 센서가 준비되었는지 확인
 * 
 * @return true 준비됨, false 준비 안됨
 */
bool sht31_is_ready(void);

#ifdef __cplusplus
}
#endif
```

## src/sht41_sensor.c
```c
/*
 * Copyright (c) 2025 Nordic Semiconductor ASA
 *
 * SPDX-License-Identifier: LicenseRef-Nordic-5-Clause
 */

#include "sht41_sensor.h"

#include <zephyr/device.h>
#include <zephyr/drivers/sensor.h>
#include <zephyr/drivers/sensor/sht4x.h>
#include <zephyr/logging/log.h>

LOG_MODULE_REGISTER(sht41_sensor, LOG_LEVEL_INF);

/* SHT41 디바이스 노드 */
static const struct device *sht41_dev = DEVICE_DT_GET_ANY(sensirion_sht4x);
bool sht41_ready = false;

int sht41_sensor_init(void)
{
  if (!sht41_dev) {
    LOG_ERR("Failed to get SHT41 device");
    return -ENODEV;
  }

  if (!device_is_ready(sht41_dev)) {
    LOG_ERR("SHT41 device is not ready");
    return -ENODEV;
  }

  LOG_INF("SHT41 sensor initialized successfully");

  sht41_ready = true;

  return 0;
}


bool sht41_is_ready(void)
{
  if (!sht41_dev || !sht41_ready) {
    return false;
  }

  return true;
}


int sht41_read_temperature(double *temperature)
{
  struct sensor_value temp_value;
  int ret;

  if (!sht41_is_ready()) {
    LOG_ERR("SHT41 device is not ready");
    return -ENODEV;
  }

  /* 센서 데이터 샘플링 */
  ret = sensor_sample_fetch(sht41_dev);
  if (ret) {
    LOG_ERR("Failed to fetch sensor data: %d", ret);
    return ret;
  }

  /* 온도 값 읽기 */
  ret = sensor_channel_get(sht41_dev, SENSOR_CHAN_AMBIENT_TEMP, &temp_value);
  if (ret) {
    LOG_ERR("Failed to get temperature: %d", ret);
    return ret;
  }

  /* sensor_value를 double로 변환 */
  *temperature = sensor_value_to_double(&temp_value);

  LOG_DBG("Temperature: %.2f °C", *temperature);
  return 0;
}

int sht41_read_humidity(double *humidity)
{
  struct sensor_value hum_value;
  int ret;

  if (!sht41_is_ready()) {
    LOG_ERR("SHT41 device is not ready");
    return -ENODEV;
  }

  /* 센서 데이터 샘플링 */
  ret = sensor_sample_fetch(sht41_dev);
  if (ret) {
    LOG_ERR("Failed to fetch sensor data: %d", ret);
    return ret;
  }

  /* 습도 값 읽기 */
  ret = sensor_channel_get(sht41_dev, SENSOR_CHAN_HUMIDITY, &hum_value);
  if (ret) {
    LOG_ERR("Failed to get humidity: %d", ret);
    return ret;
  }

  /* sensor_value를 double로 변환 */
  *humidity = sensor_value_to_double(&hum_value);

  LOG_DBG("Humidity: %.2f %%RH", *humidity);
  return 0;
}

int sht41_read_all(double *temperature, double *humidity)
{
  struct sensor_value temp_value, hum_value;
  int ret;

  if (!sht41_is_ready()) {
    LOG_ERR("SHT41 device is not ready");
    return -ENODEV;
  }

  /* 센서 데이터 샘플링 (한 번만 호출) */
  ret = sensor_sample_fetch(sht41_dev);
  if (ret) {
    LOG_ERR("Failed to fetch sensor data: %d", ret);
    return ret;
  }

  /* 온도 값 읽기 */
  ret = sensor_channel_get(sht41_dev, SENSOR_CHAN_AMBIENT_TEMP, &temp_value);
  if (ret) {
    LOG_ERR("Failed to get temperature: %d", ret);
    return ret;
  }
  *temperature = sensor_value_to_double(&temp_value);

  /* 습도 값 읽기 */
  ret = sensor_channel_get(sht41_dev, SENSOR_CHAN_HUMIDITY, &hum_value);
  if (ret) {
    LOG_ERR("Failed to get humidity: %d", ret);
    return ret;
  }
  *humidity = sensor_value_to_double(&hum_value);

  LOG_INF("Temp: %.2f °C, Humidity: %.2f %%RH", *temperature, *humidity);
  return 0;
}
```

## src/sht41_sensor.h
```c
/*
 * Copyright (c) 2025 Nordic Semiconductor ASA
 *
 * SPDX-License-Identifier: LicenseRef-Nordic-5-Clause
 */

#pragma once

#include <zephyr/kernel.h>

#ifdef __cplusplus
extern "C" {
#endif

/**
 * @brief SHT41 센서 초기화
 * 
 * @return 0 성공, 음수 에러 코드
 */
int sht41_sensor_init(void);

/**
 * @brief SHT41 센서에서 온도 읽기
 * 
 * @param temperature 온도 값 저장 포인터 (섭씨, °C)
 * @return 0 성공, 음수 에러 코드
 */
int sht41_read_temperature(double *temperature);

/**
 * @brief SHT41 센서에서 습도 읽기
 * 
 * @param humidity 습도 값 저장 포인터 (상대습도, %RH)
 * @return 0 성공, 음수 에러 코드
 */
int sht41_read_humidity(double *humidity);

/**
 * @brief SHT41 센서에서 온도와 습도를 동시에 읽기
 * 
 * @param temperature 온도 값 저장 포인터 (섭씨, °C)
 * @param humidity 습도 값 저장 포인터 (상대습도, %RH)
 * @return 0 성공, 음수 에러 코드
 */
int sht41_read_all(double *temperature, double *humidity);
/**
 * @brief SHT31 센서가 준비되었는지 확인
 * 
 * @return true 준비됨, false 준비 안됨
 */
bool sht41_is_ready(void);

#ifdef __cplusplus
}
#endif
```
